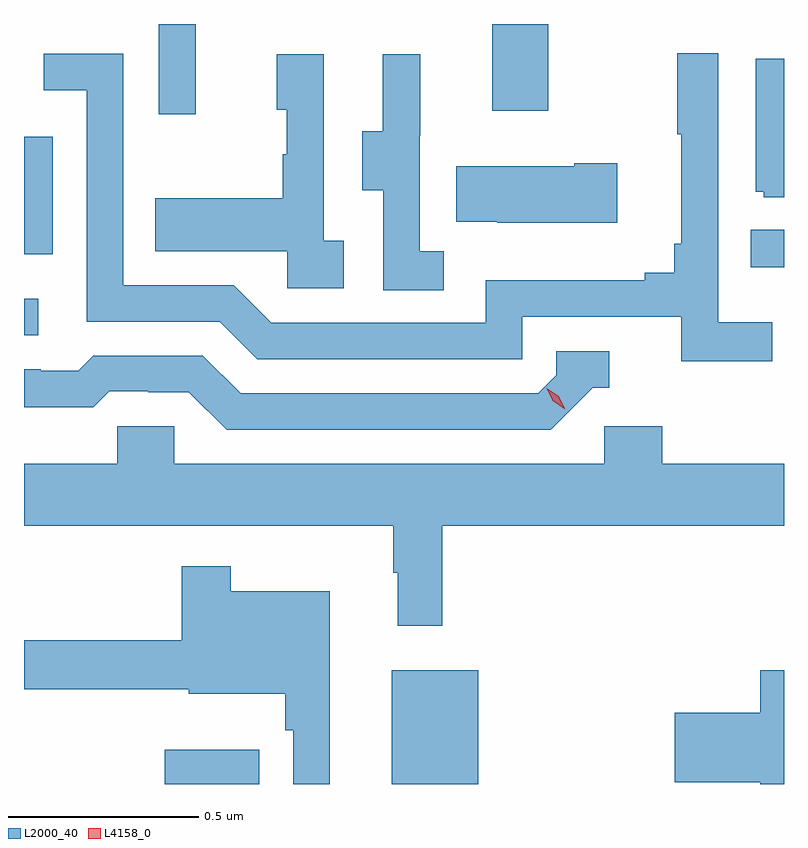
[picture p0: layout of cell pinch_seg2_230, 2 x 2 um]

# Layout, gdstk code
import gdstk
lib = gdstk.Library(unit=1e-6, precision=1e-09)
def R(c, l, rs):  # rectangles x0, y0, x1, y1
    for r in rs: c.add(gdstk.rectangle(r[:2], r[2:], *l))
def P(c, l, *ps):  # polygons
    for p in ps: c.add(gdstk.Polygon(p, *l))
L2000_40 = (2000, 40)
L4158_0 = (4158, 0)

pinch_seg2_230 = lib.new_cell('pinch_seg2_230')
R(pinch_seg2_230, L2000_40, [(996.068,657.613,996.316,657.703), (996.665,657.613,996.892,657.913), (995.697,658.794,995.734,658.89), (997.609,658.973,997.697,659.072), (995.697,659.007,995.772,659.316), (996.051,659.376,996.149,659.613), (996.929,659.385,997.077,659.613)])
P(pinch_seg2_230, L2000_40, [(997.666,658.828),(997.524,658.828),(997.524,659.536),(997.416,659.536),(997.416,659.323),(997.427,659.323),(997.427,659.035),(997.408,659.035),(997.408,658.958),(997.331,658.958),(997.331,658.939),(996.912,658.939),(996.912,658.827),(996.348,658.827),(996.249,658.926),(995.958,658.926),(995.958,659.535),(995.749,659.535),(995.749,659.439),(995.862,659.439),(995.862,658.83),(996.212,658.83),(996.311,658.731),(997.008,658.731),(997.008,658.842),(997.427,658.842),(997.427,658.726),(997.666,658.726)],
  [(996.802,659.015),(996.738,659.015),(996.738,659.319),(996.74,659.319),(996.74,659.533),(996.641,659.533),(996.641,659.331),(996.587,659.331),(996.587,659.176),(996.642,659.176),(996.642,658.912),(996.802,658.912)],
  [(996.538,659.042),(996.486,659.042),(996.486,659.533),(996.362,659.533),(996.362,659.388),(996.388,659.388),(996.388,659.27),(996.378,659.27),(996.378,659.155),(996.043,659.155),(996.043,659.015),(996.39,659.015),(996.39,658.917),(996.538,658.917)],
  [(997.697,659.521),(997.622,659.521),(997.622,659.172),(997.644,659.172),(997.644,659.157),(997.697,659.157)],
  [(997.258,659.247),(997.145,659.247),(997.145,659.239),(996.835,659.239),(996.835,659.093),(996.943,659.093),(996.943,659.09),(997.258,659.09)],
  [(997.194,658.656),(997.237,658.656),(997.237,658.752),(997.098,658.752),(997.098,658.689),(997.05,658.641),(996.267,658.641),(996.168,658.74),(995.879,658.74),(995.84,658.701),(995.741,658.701),(995.741,658.704),(995.697,658.704),(995.697,658.605),(995.879,658.605),(995.921,658.647),(996.024,658.647),(996.024,658.644),(996.131,658.644),(996.23,658.545),(997.083,658.545)],
  [(996.797,658.292),(997.697,658.292),(997.697,658.456),(997.376,658.456),(997.376,658.554),(997.224,658.554),(997.224,658.456),(996.093,658.456),(996.093,658.554),(995.943,658.554),(995.943,658.456),(995.697,658.456),(995.697,658.292),(996.669,658.292),(996.669,658.169),(996.68,658.169),(996.68,658.029),(996.797,658.029)],
  [(996.502,658.12),(996.241,658.12),(996.241,658.186),(996.112,658.186),(996.112,657.991),(995.697,657.991),(995.697,657.862),(996.131,657.862),(996.131,657.851),(996.385,657.851),(996.385,657.755),(996.405,657.755),(996.405,657.613),(996.502,657.613)],
  [(997.697,657.913),(997.634,657.913),(997.634,657.8),(997.41,657.8),(997.41,657.617),(997.634,657.617),(997.634,657.613),(997.697,657.613)])
P(pinch_seg2_230, L4158_0, [(997.119,658.601),(997.089,658.621),(997.073,658.654),(997.073,658.655),(997.073,658.655),(997.104,658.634),(997.12,658.601),(997.12,658.601)])

lib.write_gds('pinch_seg2_230.gds')
